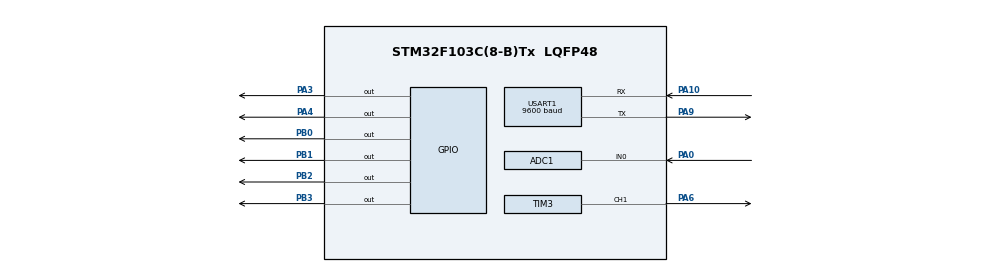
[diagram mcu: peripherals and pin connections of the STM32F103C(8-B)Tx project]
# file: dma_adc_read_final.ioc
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ADC1.Channel-0\#ChannelRegularConversion=ADC_CHANNEL_0
ADC1.ContinuousConvMode=ENABLE
ADC1.NbrOfConversion=1
ADC1.NbrOfConversionFlag=1
ADC1.Rank-0\#ChannelRegularConversion=1
ADC1.SamplingTime-0\#ChannelRegularConversion=ADC_SAMPLETIME_55CYCLES_5
ADC1.master=1
Dma.ADC1.0.Direction=DMA_PERIPH_TO_MEMORY
Dma.ADC1.0.Instance=DMA1_Channel1
Dma.ADC1.0.MemDataAlignment=DMA_MDATAALIGN_WORD
Dma.ADC1.0.MemInc=DMA_MINC_ENABLE
Dma.ADC1.0.Mode=DMA_CIRCULAR
Dma.ADC1.0.PeriphDataAlignment=DMA_PDATAALIGN_WORD
Dma.ADC1.0.PeriphInc=DMA_PINC_DISABLE
Dma.ADC1.0.Priority=DMA_PRIORITY_LOW
Dma.Request0=ADC1
Mcu.Family=STM32F1
Mcu.Name=STM32F103C(8-B)Tx
Mcu.Package=LQFP48
NVIC.DMA1_Channel1_IRQn=true\:2\:0\:true\:false\:true\:false\:true\:true
NVIC.PriorityGroup=NVIC_PRIORITYGROUP_4
NVIC.TIM1_CC_IRQn=true\:0\:0\:false\:false\:true\:true\:true\:true
NVIC.TIM1_UP_IRQn=true\:0\:0\:false\:false\:true\:true\:true\:true
NVIC.TIM3_IRQn=true\:3\:0\:true\:false\:true\:true\:true\:true
NVIC.USART1_IRQn=true\:1\:0\:true\:false\:true\:true\:true\:true
PA0-WKUP.Signal=ADCx_IN0
PA10.Mode=Asynchronous
PA10.Signal=USART1_RX
PA13.Mode=Serial_Wire
PA13.Signal=SYS_JTMS-SWDIO
PA14.Mode=Serial_Wire
PA14.Signal=SYS_JTCK-SWCLK
PA3.Signal=GPIO_Output
PA4.Signal=GPIO_Output
PA6.Signal=S_TIM3_CH1
PA9.Mode=Asynchronous
PA9.Signal=USART1_TX
PB0.Signal=GPIO_Output
PB1.Signal=GPIO_Output
PB2.Signal=GPIO_Output
PB3.Signal=GPIO_Output
PD0-OSC_IN.Mode=HSE-External-Oscillator
PD0-OSC_IN.Signal=RCC_OSC_IN
PD1-OSC_OUT.Mode=HSE-External-Oscillator
PD1-OSC_OUT.Signal=RCC_OSC_OUT
ProjectManager.HeapSize=0x200
ProjectManager.StackSize=0x400
ProjectManager.TargetToolchain=MDK-ARM V5.32
RCC.AHBCLKDivider=RCC_SYSCLK_DIV4
RCC.AHBFreq_Value=2000000
RCC.APB1Freq_Value=2000000
RCC.APB1TimFreq_Value=2000000
RCC.APB2CLKDivider=RCC_HCLK_DIV4
RCC.APB2Freq_Value=500000
RCC.APB2TimFreq_Value=1000000
RCC.HCLKFreq_Value=2000000
SH.ADCx_IN0.0=ADC1_IN0,IN0
SH.S_TIM3_CH1.0=TIM3_CH1,PWM Generation1 CH1
TIM1.Channel-Output\ Compare1\ No\ Output=TIM_CHANNEL_1
TIM1.Period=63999
TIM1.Prescaler=124
TIM1.Pulse-Output\ Compare1\ No\ Output=32000
TIM3.Channel-PWM\ Generation1\ CH1=TIM_CHANNEL_1
TIM3.Period=1000
TIM3.Prescaler=19
TIM3.Pulse-PWM\ Generation1\ CH1=500
USART1.BaudRate=9600
USART1.VirtualMode=VM_ASYNC
VP_TIM1_VS_ClockSourceINT.Mode=Internal
VP_TIM1_VS_no_output1.Mode=Output Compare1 No Output
VP_TIM3_VS_ClockSourceINT.Mode=Internal
board=custom

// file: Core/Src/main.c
/* USER CODE BEGIN Header */
/**
  ******************************************************************************
  * @file           : main.c
  * @brief          : Main program body
  ******************************************************************************
  * @attention
  *
  * Copyright (c) 2023 STMicroelectronics.
  * All rights reserved.
  *
  * This software is licensed under terms that can be found in the LICENSE file
  * in the root directory of this software component.
  * If no LICENSE file comes with this software, it is provided AS-IS.
  *
  ******************************************************************************
  */
/* USER CODE END Header */
#include "main.h"

/* USER CODE BEGIN Includes */
#include "string.h"
#include <stdio.h>
#include <stdlib.h>
/* USER CODE END Includes */

/* USER CODE BEGIN PD */
char waterMessage[32] = "Time to Water!\n";
uint32_t adcbuffer[1];
uint32_t data1;
uint32_t data2;
uint32_t data3;
uint32_t waterTime = 0;
char temperature[32];

/* USER CODE END PD */

ADC_HandleTypeDef hadc1;
DMA_HandleTypeDef hdma_adc1;

TIM_HandleTypeDef htim1;
TIM_HandleTypeDef htim3;

UART_HandleTypeDef huart1;

void SystemClock_Config(void);
static void MX_GPIO_Init(void);
static void MX_DMA_Init(void);
static void MX_ADC1_Init(void);
static void MX_USART1_UART_Init(void);
static void MX_TIM3_Init(void);
static void MX_TIM1_Init(void);
/* USER CODE BEGIN PFP */

void HAL_ADC_ConvCpltCallback(ADC_HandleTypeDef* hadc){

		if(hadc == &hadc1)
	{
		data1 = adcbuffer[0];
	}

}

/* USER CODE END PFP */

/* USER CODE BEGIN 0 */

void 	over_temp_alert(){
			HAL_GPIO_WritePin(GPIOB, GPIO_PIN_0, GPIO_PIN_SET);
			HAL_GPIO_WritePin(GPIOB, GPIO_PIN_1, GPIO_PIN_RESET);
			HAL_GPIO_WritePin(GPIOB, GPIO_PIN_2, GPIO_PIN_RESET);
}

void 	normal_temp(){
			HAL_GPIO_WritePin(GPIOB, GPIO_PIN_1, GPIO_PIN_SET);
			HAL_GPIO_WritePin(GPIOB, GPIO_PIN_0, GPIO_PIN_RESET);
			HAL_GPIO_WritePin(GPIOB, GPIO_PIN_2, GPIO_PIN_RESET);
}

void 	too_low_temp(){
			HAL_GPIO_WritePin(GPIOB, GPIO_PIN_2, GPIO_PIN_SET);
			HAL_GPIO_WritePin(GPIOB, GPIO_PIN_1, GPIO_PIN_RESET);
			HAL_GPIO_WritePin(GPIOB, GPIO_PIN_0, GPIO_PIN_RESET);
}

/* USER CODE END 0 */

int main(void)
{

  /* MCU Configuration--------------------------------------------------------*/

  /* Reset of all peripherals, Initializes the Flash interface and the Systick. */
  HAL_Init();

  /* Configure the system clock */
  SystemClock_Config();

  /* Initialize all configured peripherals */
  MX_GPIO_Init();
  MX_DMA_Init();
  MX_ADC1_Init();
  MX_USART1_UART_Init();
  MX_TIM3_Init();
  MX_TIM1_Init();
  /* USER CODE BEGIN 2 */
	HAL_ADC_Start_DMA(&hadc1, adcbuffer, 1);
	HAL_TIM_Base_Start_IT(&htim1);
	HAL_TIM_Base_Start(&htim3);
	HAL_TIM_PWM_Start(&htim3, TIM_CHANNEL_1);
  /* USER CODE END 2 */

  /* Infinite loop */
  while (1)
  {

  }
}

void SystemClock_Config(void)
{
  RCC_OscInitTypeDef RCC_OscInitStruct = {0};
  RCC_ClkInitTypeDef RCC_ClkInitStruct = {0};
  RCC_PeriphCLKInitTypeDef PeriphClkInit = {0};

  /** Initializes the RCC Oscillators according to the specified parameters
  * in the RCC_OscInitTypeDef structure.
  */
  RCC_OscInitStruct.OscillatorType = RCC_OSCILLATORTYPE_HSI;
  RCC_OscInitStruct.HSIState = RCC_HSI_ON;
  RCC_OscInitStruct.HSICalibrationValue = RCC_HSICALIBRATION_DEFAULT;
  RCC_OscInitStruct.PLL.PLLState = RCC_PLL_NONE;
  if (HAL_RCC_OscConfig(&RCC_OscInitStruct) != HAL_OK)
  {
    Error_Handler();
  }

  /** Initializes the CPU, AHB and APB buses clocks
  */
  RCC_ClkInitStruct.ClockType = RCC_CLOCKTYPE_HCLK|RCC_CLOCKTYPE_SYSCLK
                              |RCC_CLOCKTYPE_PCLK1|RCC_CLOCKTYPE_PCLK2;
  RCC_ClkInitStruct.SYSCLKSource = RCC_SYSCLKSOURCE_HSI;
  RCC_ClkInitStruct.AHBCLKDivider = RCC_SYSCLK_DIV4;
  RCC_ClkInitStruct.APB1CLKDivider = RCC_HCLK_DIV1;
  RCC_ClkInitStruct.APB2CLKDivider = RCC_HCLK_DIV4;

  if (HAL_RCC_ClockConfig(&RCC_ClkInitStruct, FLASH_LATENCY_0) != HAL_OK)
  {
    Error_Handler();
  }
  PeriphClkInit.PeriphClockSelection = RCC_PERIPHCLK_ADC;
  PeriphClkInit.AdcClockSelection = RCC_ADCPCLK2_DIV2;
  if (HAL_RCCEx_PeriphCLKConfig(&PeriphClkInit) != HAL_OK)
  {
    Error_Handler();
  }
}

static void MX_ADC1_Init(void)
{

  ADC_ChannelConfTypeDef sConfig = {0};

  /** Common config
  */
  hadc1.Instance = ADC1;
  hadc1.Init.ScanConvMode = ADC_SCAN_DISABLE;
  hadc1.Init.ContinuousConvMode = ENABLE;
  hadc1.Init.DiscontinuousConvMode = DISABLE;
  hadc1.Init.ExternalTrigConv = ADC_SOFTWARE_START;
  hadc1.Init.DataAlign = ADC_DATAALIGN_RIGHT;
  hadc1.Init.NbrOfConversion = 1;
  if (HAL_ADC_Init(&hadc1) != HAL_OK)
  {
    Error_Handler();
  }

  /** Configure Regular Channel
  */
  sConfig.Channel = ADC_CHANNEL_0;
  sConfig.Rank = ADC_REGULAR_RANK_1;
  sConfig.SamplingTime = ADC_SAMPLETIME_55CYCLES_5;
  if (HAL_ADC_ConfigChannel(&hadc1, &sConfig) != HAL_OK)
  {
    Error_Handler();
  }

}

static void MX_TIM1_Init(void)
{

  TIM_ClockConfigTypeDef sClockSourceConfig = {0};
  TIM_MasterConfigTypeDef sMasterConfig = {0};
  TIM_OC_InitTypeDef sConfigOC = {0};
  TIM_BreakDeadTimeConfigTypeDef sBreakDeadTimeConfig = {0};

  htim1.Instance = TIM1;
  htim1.Init.Prescaler = 124;
  htim1.Init.CounterMode = TIM_COUNTERMODE_UP;
  htim1.Init.Period = 63999;
  htim1.Init.ClockDivision = TIM_CLOCKDIVISION_DIV1;
  htim1.Init.RepetitionCounter = 0;
  htim1.Init.AutoReloadPreload = TIM_AUTORELOAD_PRELOAD_DISABLE;
  if (HAL_TIM_Base_Init(&htim1) != HAL_OK)
  {
    Error_Handler();
  }
  sClockSourceConfig.ClockSource = TIM_CLOCKSOURCE_INTERNAL;
  if (HAL_TIM_ConfigClockSource(&htim1, &sClockSourceConfig) != HAL_OK)
  {
    Error_Handler();
  }
  if (HAL_TIM_OC_Init(&htim1) != HAL_OK)
  {
    Error_Handler();
  }
  sMasterConfig.MasterOutputTrigger = TIM_TRGO_RESET;
  sMasterConfig.MasterSlaveMode = TIM_MASTERSLAVEMODE_DISABLE;
  if (HAL_TIMEx_MasterConfigSynchronization(&htim1, &sMasterConfig) != HAL_OK)
  {
    Error_Handler();
  }
  sConfigOC.OCMode = TIM_OCMODE_TIMING;
  sConfigOC.Pulse = 32000;
  sConfigOC.OCPolarity = TIM_OCPOLARITY_HIGH;
  sConfigOC.OCNPolarity = TIM_OCNPOLARITY_HIGH;
  sConfigOC.OCFastMode = TIM_OCFAST_DISABLE;
  sConfigOC.OCIdleState = TIM_OCIDLESTATE_RESET;
  sConfigOC.OCNIdleState = TIM_OCNIDLESTATE_RESET;
  if (HAL_TIM_OC_ConfigChannel(&htim1, &sConfigOC, TIM_CHANNEL_1) != HAL_OK)
  {
    Error_Handler();
  }
  sBreakDeadTimeConfig.OffStateRunMode = TIM_OSSR_DISABLE;
  sBreakDeadTimeConfig.OffStateIDLEMode = TIM_OSSI_DISABLE;
  sBreakDeadTimeConfig.LockLevel = TIM_LOCKLEVEL_OFF;
  sBreakDeadTimeConfig.DeadTime = 0;
  sBreakDeadTimeConfig.BreakState = TIM_BREAK_DISABLE;
  sBreakDeadTimeConfig.BreakPolarity = TIM_BREAKPOLARITY_HIGH;
  sBreakDeadTimeConfig.AutomaticOutput = TIM_AUTOMATICOUTPUT_DISABLE;
  if (HAL_TIMEx_ConfigBreakDeadTime(&htim1, &sBreakDeadTimeConfig) != HAL_OK)
  {
    Error_Handler();
  }

}

static void MX_TIM3_Init(void)
{

  TIM_ClockConfigTypeDef sClockSourceConfig = {0};
  TIM_MasterConfigTypeDef sMasterConfig = {0};
  TIM_OC_InitTypeDef sConfigOC = {0};

  htim3.Instance = TIM3;
  htim3.Init.Prescaler = 19;
  htim3.Init.CounterMode = TIM_COUNTERMODE_UP;
  htim3.Init.Period = 1000;
  htim3.Init.ClockDivision = TIM_CLOCKDIVISION_DIV1;
  htim3.Init.AutoReloadPreload = TIM_AUTORELOAD_PRELOAD_DISABLE;
  if (HAL_TIM_Base_Init(&htim3) != HAL_OK)
  {
    Error_Handler();
  }
  sClockSourceConfig.ClockSource = TIM_CLOCKSOURCE_INTERNAL;
  if (HAL_TIM_ConfigClockSource(&htim3, &sClockSourceConfig) != HAL_OK)
  {
    Error_Handler();
  }
  if (HAL_TIM_PWM_Init(&htim3) != HAL_OK)
  {
    Error_Handler();
  }
  sMasterConfig.MasterOutputTrigger = TIM_TRGO_RESET;
  sMasterConfig.MasterSlaveMode = TIM_MASTERSLAVEMODE_DISABLE;
  if (HAL_TIMEx_MasterConfigSynchronization(&htim3, &sMasterConfig) != HAL_OK)
  {
    Error_Handler();
  }
  sConfigOC.OCMode = TIM_OCMODE_PWM1;
  sConfigOC.Pulse = 500;
  sConfigOC.OCPolarity = TIM_OCPOLARITY_HIGH;
  sConfigOC.OCFastMode = TIM_OCFAST_DISABLE;
  if (HAL_TIM_PWM_ConfigChannel(&htim3, &sConfigOC, TIM_CHANNEL_1) != HAL_OK)
  {
    Error_Handler();
  }
  HAL_TIM_MspPostInit(&htim3);

}

static void MX_USART1_UART_Init(void)
{

  huart1.Instance = USART1;
  huart1.Init.BaudRate = 9600;
  huart1.Init.WordLength = UART_WORDLENGTH_8B;
  huart1.Init.StopBits = UART_STOPBITS_1;
  huart1.Init.Parity = UART_PARITY_NONE;
  huart1.Init.Mode = UART_MODE_TX_RX;
  huart1.Init.HwFlowCtl = UART_HWCONTROL_NONE;
  huart1.Init.OverSampling = UART_OVERSAMPLING_16;
  if (HAL_UART_Init(&huart1) != HAL_OK)
  {
    Error_Handler();
  }

}

static void MX_DMA_Init(void)
{

  /* DMA controller clock enable */
  __HAL_RCC_DMA1_CLK_ENABLE();

  /* DMA interrupt init */
  /* DMA1_Channel1_IRQn interrupt configuration */
  HAL_NVIC_SetPriority(DMA1_Channel1_IRQn, 2, 0);
  HAL_NVIC_EnableIRQ(DMA1_Channel1_IRQn);

}

static void MX_GPIO_Init(void)
{
  GPIO_InitTypeDef GPIO_InitStruct = {0};

  /* GPIO Ports Clock Enable */
  __HAL_RCC_GPIOD_CLK_ENABLE();
  __HAL_RCC_GPIOA_CLK_ENABLE();
  __HAL_RCC_GPIOB_CLK_ENABLE();

  /*Configure GPIO pin Output Level */
  HAL_GPIO_WritePin(GPIOA, GPIO_PIN_3|GPIO_PIN_4, GPIO_PIN_RESET);

  /*Configure GPIO pin Output Level */
  HAL_GPIO_WritePin(GPIOB, GPIO_PIN_0|GPIO_PIN_1|GPIO_PIN_2|GPIO_PIN_3, GPIO_PIN_RESET);

  /*Configure GPIO pins : PA3 PA4 */
  GPIO_InitStruct.Pin = GPIO_PIN_3|GPIO_PIN_4;
  GPIO_InitStruct.Mode = GPIO_MODE_OUTPUT_PP;
  GPIO_InitStruct.Pull = GPIO_NOPULL;
  GPIO_InitStruct.Speed = GPIO_SPEED_FREQ_LOW;
  HAL_GPIO_Init(GPIOA, &GPIO_InitStruct);

  /*Configure GPIO pins : PB0 PB1 PB2 PB3 */
  GPIO_InitStruct.Pin = GPIO_PIN_0|GPIO_PIN_1|GPIO_PIN_2|GPIO_PIN_3;
  GPIO_InitStruct.Mode = GPIO_MODE_OUTPUT_PP;
  GPIO_InitStruct.Pull = GPIO_NOPULL;
  GPIO_InitStruct.Speed = GPIO_SPEED_FREQ_LOW;
  HAL_GPIO_Init(GPIOB, &GPIO_InitStruct);

}

/* USER CODE BEGIN 4 */
 void HAL_TIM_PeriodElapsedCallback(TIM_HandleTypeDef *htim)
{
  /* Prevent unused argument(s) compilation warning */
  UNUSED(htim);

	   	   if(htim->Instance==TIM1){

					float AdcTemperature;

					AdcTemperature = (float)data1/8.167;

					sprintf(temperature,"Temperature  %0.f\r\n",AdcTemperature);
					HAL_UART_Transmit(&huart1,(uint8_t*)temperature,strlen(temperature),HAL_MAX_DELAY);

					HAL_GPIO_TogglePin(GPIOA, GPIO_PIN_3);

					if(AdcTemperature < 10.0){
					__HAL_TIM_SetCompare(&htim3, TIM_CHANNEL_1, 900);
					too_low_temp();
					}else if(AdcTemperature >= 10.0 && AdcTemperature < 40.0){
					normal_temp();
					} else if(AdcTemperature > 40.0 && AdcTemperature < 50.0){
					over_temp_alert();
					__HAL_TIM_SetCompare(&htim3, TIM_CHANNEL_1, 800);
					} else if(AdcTemperature > 50){
						over_temp_alert();
					__HAL_TIM_SetCompare(&htim3, TIM_CHANNEL_1, 200);
					}

					waterTime++;
					if(waterTime >=5){
					waterTime = 0;
					sprintf(waterMessage,"Time to Water!\r\n");
					HAL_UART_Transmit(&huart1,(uint8_t*)waterMessage,strlen(waterMessage),HAL_MAX_DELAY);
					HAL_GPIO_WritePin(GPIOB, GPIO_PIN_3, GPIO_PIN_SET);
					}else{
					HAL_GPIO_WritePin(GPIOB, GPIO_PIN_3, GPIO_PIN_RESET);
					}

		}

  /* NOTE : This function should not be modified, when the callback is needed,
            the HAL_TIM_PeriodElapsedCallback could be implemented in the user file
   */
}
/* USER CODE END 4 */

void Error_Handler(void)
{
  __disable_irq();
  while (1)
  {
  }
}
